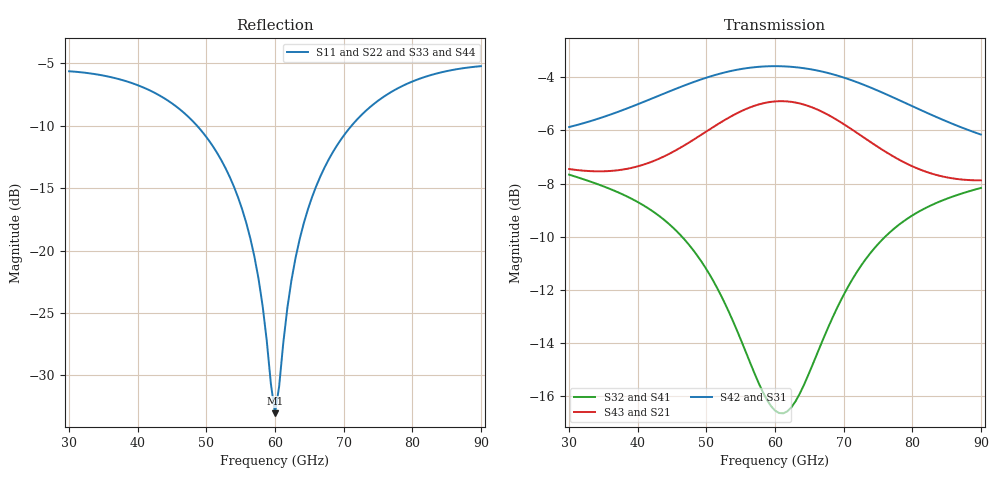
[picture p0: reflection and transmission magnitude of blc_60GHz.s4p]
#  GHZ S DB R 50
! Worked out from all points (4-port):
!   101 points, 30 GHz to 90 GHz, reference 50 ohm
!   strongest paths, dB at 30 GHz, 45 GHz, 60 GHz, 75 GHz, 90 GHz:
!     S42: -5.9, -4.5, -3.6, -4.5, -6.2
!     S31: -5.9, -4.5, -3.6, -4.5, -6.2
!     S43: -7.5, -6.8, -4.9, -6.6, -7.9
!     S21: -7.5, -6.8, -4.9, -6.6, -7.9
!     S32: -7.7, -9.6, -16.5, -10.3, -8.2
!     S41: -7.7, -9.6, -16.5, -10.3, -8.2
!   lowest |S11| = -33.0 dB at 60 GHz (marker M1), VSWR 1.05, Z = 52.3 + j0.0546 ohm
!   |S11| at or under -10 dB: 48.65 GHz to 71.14 GHz (22.49 GHz wide, 37.5 % of centre)
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30  -5.63 158.5  -7.46 -47.0  -5.87 -81.4  -7.67 -63.3
    -7.46 -47.0  -5.63 158.5  -7.67 -63.3  -5.87 -81.4
    -5.87 -81.4  -7.67 -63.3  -5.63 158.5  -7.45 -47.0
    -7.67 -63.3  -5.87 -81.4  -7.45 -47.0  -5.63 158.5
51.6  -12.20 108.6  -5.78 -71.0  -3.90 -148.7  -11.95 -109.4
      -5.78 -71.0  -12.19 108.7  -11.94 -109.3  -3.90 -148.7
      -3.90 -148.7  -11.94 -109.3  -12.22 108.7  -5.78 -71.1
      -11.95 -109.4  -3.90 -148.7  -5.78 -71.1  -12.19 108.6
57  -20.48 84.8  -5.08 -83.8  -3.63 -169.0  -15.14 -109.4
    -5.08 -83.8  -20.45 85.1  -15.13 -109.3  -3.63 -168.9
    -3.63 -169.0  -15.13 -109.3  -20.53 85.1  -5.08 -83.8
    -15.14 -109.4  -3.63 -168.9  -5.08 -83.8  -20.42 84.8
60  -33.04 1.3  -4.91 -92.0  -3.59 179.5  -16.55 -98.2
    -4.91 -92.0  -33.16 2.7  -16.53 -98.3  -3.59 179.6
    -3.59 179.5  -16.53 -98.3  -33.26 0.4  -4.91 -92.0
    -16.55 -98.2  -3.59 179.6  -4.91 -92.0  -32.95 3.1
63  -20.56 -85.1  -4.95 -100.4  -3.63 168.0  -16.19 -83.4
    -4.95 -100.4  -20.62 -85.1  -16.18 -83.5  -3.63 168.1
    -3.63 168.0  -16.18 -83.5  -20.54 -85.5  -4.95 -100.5
    -16.19 -83.4  -3.63 168.1  -4.95 -100.5  -20.62 -84.8
68.4  -12.14 -109.0  -5.51 -114.4  -3.90 147.7  -13.03 -75.3
      -5.51 -114.4  -12.15 -109.0  -13.03 -75.4  -3.89 147.7
      -3.90 147.7  -13.03 -75.4  -12.12 -109.1  -5.51 -114.4
      -13.03 -75.3  -3.89 147.7  -5.51 -114.4  -12.16 -108.8
90  -5.22 -160.0  -7.87 -141.2  -6.16 78.8  -8.16 -119.6
    -7.87 -141.2  -5.22 -160.0  -8.16 -119.6  -6.16 78.8
    -6.16 78.8  -8.16 -119.6  -5.21 -160.0  -7.88 -141.2
    -8.16 -119.6  -6.16 78.8  -7.88 -141.2  -5.22 -160.0
